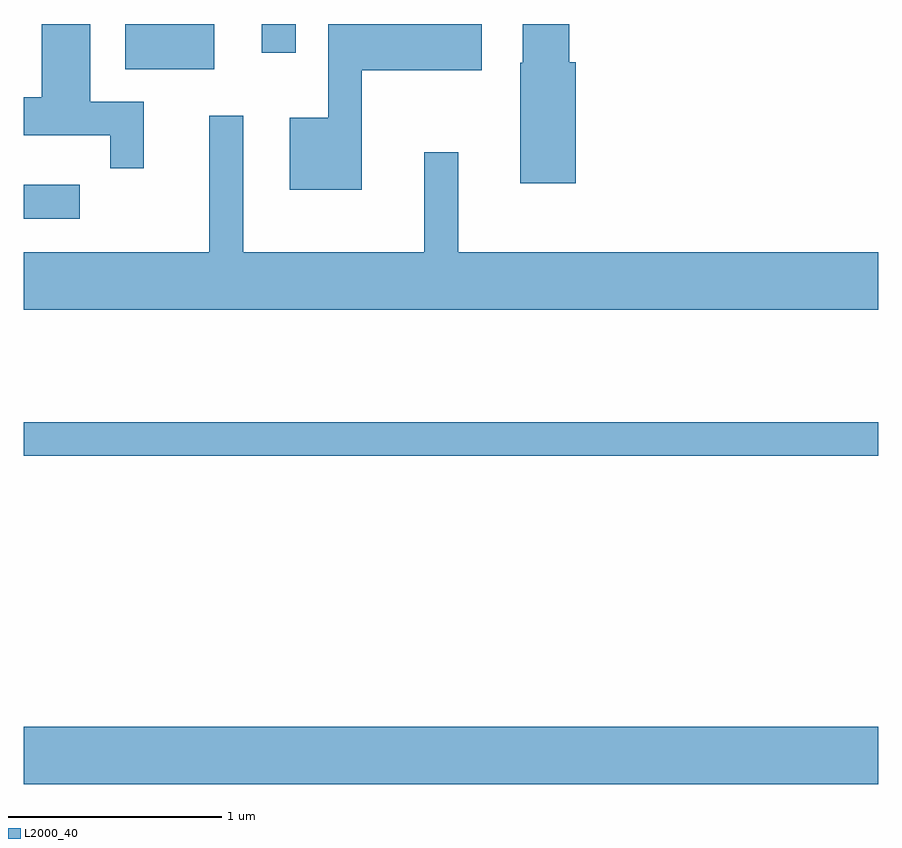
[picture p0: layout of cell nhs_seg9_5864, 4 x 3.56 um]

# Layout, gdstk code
import gdstk
lib = gdstk.Library(unit=1e-6, precision=1e-09)
def R(c, l, rs):  # rectangles x0, y0, x1, y1
    for r in rs: c.add(gdstk.rectangle(r[:2], r[2:], *l))
def P(c, l, *ps):  # polygons
    for p in ps: c.add(gdstk.Polygon(p, *l))
L2000_40 = (2000, 40)

nhs_seg9_5864 = lib.new_cell('nhs_seg9_5864')
R(nhs_seg9_5864, L2000_40, [(357.611,2042.876,361.611,2043.144), (357.611,2044.411,361.611,2044.569), (357.611,2045.521,357.873,2045.679), (358.086,2046.221,358.504,2046.432), (358.726,2046.298,358.884,2046.432)])
P(nhs_seg9_5864, L2000_40, [(358.174,2046.069),(357.924,2046.069),(357.924,2046.432),(357.696,2046.432),(357.696,2046.089),(357.611,2046.089),(357.611,2045.911),(358.016,2045.911),(358.016,2045.758),(358.174,2045.758)],
  [(360.194,2046.254),(360.164,2046.254),(360.164,2046.432),(359.946,2046.432),(359.946,2046.25),(359.936,2046.25),(359.936,2045.686),(360.194,2045.686)],
  [(359.194,2046.216),(359.754,2046.216),(359.754,2046.432),(359.036,2046.432),(359.036,2045.994),(358.856,2045.994),(358.856,2045.656),(359.194,2045.656)],
  [(361.611,2045.364),(359.644,2045.364),(359.644,2045.833),(359.486,2045.833),(359.486,2045.364),(358.639,2045.364),(358.639,2046.003),(358.481,2046.003),(358.481,2045.364),(357.611,2045.364),(357.611,2045.096),(361.611,2045.096)])

lib.write_gds('nhs_seg9_5864.gds')
